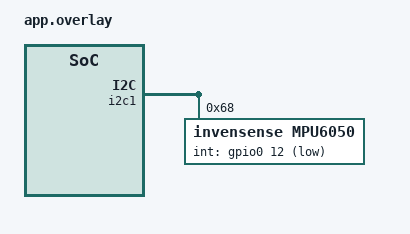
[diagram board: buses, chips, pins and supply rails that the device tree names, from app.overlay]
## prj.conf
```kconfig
#
# Copyright (c) 2018 Nordic Semiconductor
#
# SPDX-License-Identifier: LicenseRef-Nordic-5-Clause
#

# Enable the UART driver
CONFIG_UART_ASYNC_API=y
CONFIG_NRFX_UARTE0=y
CONFIG_SERIAL=y

CONFIG_GPIO=y

# Make sure printk is printing to the UART console
CONFIG_CONSOLE=y
CONFIG_UART_CONSOLE=y

CONFIG_HEAP_MEM_POOL_SIZE=2048

CONFIG_BT=y
CONFIG_BT_PERIPHERAL=y
CONFIG_BT_DEVICE_NAME="Nordic_UART_Service"
CONFIG_BT_MAX_CONN=1
CONFIG_BT_MAX_PAIRED=1
CONFIG_BT_SMP=y
CONFIG_BT_GATT_CLIENT=y

#Configure your preferred connection parameters
CONFIG_BT_PERIPHERAL_PREF_MIN_INT=800
CONFIG_BT_PERIPHERAL_PREF_MAX_INT=800
CONFIG_BT_PERIPHERAL_PREF_LATENCY=0
CONFIG_BT_PERIPHERAL_PREF_TIMEOUT=400
CONFIG_BT_GAP_AUTO_UPDATE_CONN_PARAMS=y

#nable PHY updates.
CONFIG_BT_USER_PHY_UPDATE=y

#Update Data Length and MTU
CONFIG_BT_USER_DATA_LEN_UPDATE=y
CONFIG_BT_CTLR_DATA_LENGTH_MAX=251
CONFIG_BT_BUF_ACL_RX_SIZE=251
CONFIG_BT_BUF_ACL_TX_SIZE=251
CONFIG_BT_L2CAP_TX_MTU=247

# Enable the NUS service
CONFIG_BT_NUS=y

# Enable bonding
CONFIG_BT_SETTINGS=y
CONFIG_FLASH=y
CONFIG_FLASH_PAGE_LAYOUT=y
CONFIG_FLASH_MAP=y
CONFIG_NVS=y
CONFIG_SETTINGS=y

# Enable DK LED and Buttons library
CONFIG_DK_LIBRARY=y

# This example requires more stack
CONFIG_MAIN_STACK_SIZE=1152
CONFIG_SYSTEM_WORKQUEUE_STACK_SIZE=2048

# Config logger
CONFIG_LOG=y
CONFIG_USE_SEGGER_RTT=y
CONFIG_LOG_BACKEND_RTT=y
CONFIG_LOG_BACKEND_UART=n
CONFIG_LOG_PRINTK=n

CONFIG_ASSERT=y


# i2c
CONFIG_I2C=y
CONFIG_NRFX_TWI1=y


# mpu6050
CONFIG_SENSOR=y
CONFIG_MPU6050=y
CONFIG_MPU6050_TRIGGER=y
CONFIG_MPU6050_TRIGGER_OWN_THREAD=y
```

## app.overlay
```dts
/*
 * Copyright (c) 2022 Nordic Semiconductor ASA
 *
 * SPDX-License-Identifier: LicenseRef-Nordic-5-Clause
 */

/ {
	chosen {
		nordic,nus-uart = &uart0;
	};
};

&i2c1 {
	status = "okay";
	//clock-frequency = <400000>;
	mpu6050: mpu6050@68 {
        compatible = "invensense,mpu6050";
        reg = <0x68>; // I2C 地址
		int-gpios = <&gpio0 12 GPIO_ACTIVE_LOW>;
    };
};
 
//配置i2c1
&i2c1_default {
	group1 {
		psels = <NRF_PSEL(TWIM_SDA, 0, 31)>, <NRF_PSEL(TWIM_SCL, 0, 30)>;
	};
};
```

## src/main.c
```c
/*
 * Copyright (c) 2018 Nordic Semiconductor ASA
 *
 * SPDX-License-Identifier: LicenseRef-Nordic-5-Clause
 */

/** @file
 *  @brief Nordic UART Bridge Service (NUS) sample
 */
#include <zephyr/types.h>
#include <zephyr/kernel.h>
#include <zephyr/device.h>
#include <zephyr/devicetree.h>
#include <soc.h>

#include <dk_buttons_and_leds.h>
#include <bluetooth/services/nus.h>
#include <stdio.h>

#include <zephyr/logging/log.h>

#include <zephyr/drivers/sensor.h>
#include <zephyr/sys/__assert.h>

#include "ble.h"
#include "uart.h"
#include "custom_srv.h"


LOG_MODULE_REGISTER(main);


#define RUN_STATUS_LED DK_LED1
#define RUN_LED_BLINK_INTERVAL 1000

// Verify that there is exactly one MPU6050 device
#define MPU6050_NODE DT_NODELABEL(mpu6050)

#if !DT_NODE_HAS_STATUS(MPU6050_NODE, okay)
#error "MPU6050 device node is not okay"
#endif


static K_SEM_DEFINE(sem, 0, 1);

static void mpu_trigger_handler(const struct device *dev,
			    const struct sensor_trigger *trigger)
{
	ARG_UNUSED(dev);
	switch (trigger->type) {
	case SENSOR_TRIG_DATA_READY:
		printk("Data ready trigger\r\n");
		break;
	default:
		printk("Unknown trigger event %d\r\n", trigger->type);
		break;
	}
	k_sem_give(&sem);
}

static void configure_gpio(void)
{
	int err;

	err = dk_leds_init();
	if (err) {
		LOG_ERR("Cannot init LEDs (err: %d)", err);
	}
}

/* This sets up  the sensor to signal valid data when a threshold
 * value is reached.
 */
static void process(const struct device *dev)
{
	int ret;
	struct sensor_value temp_val[3];
	struct sensor_trigger sensor_trig_conf = {
		.type = SENSOR_TRIG_DATA_READY,
		.chan = SENSOR_CHAN_RED,
	};

	if (sensor_trigger_set(dev, &sensor_trig_conf,
			mpu_trigger_handler)) {
		printk("Could not set trigger\n");
		return;
	}
	

	while (1) {
		k_sem_take(&sem, K_FOREVER);

		ret = sensor_sample_fetch_chan(dev, SENSOR_CHAN_ALL);
		/* The sensor does only support fetching SENSOR_CHAN_ALL */
		if (ret) {
			printk("sensor_sample_fetch failed ret %d\n", ret);
			return;
		}

		ret = sensor_channel_get(dev, SENSOR_CHAN_ACCEL_XYZ, temp_val);
		if (ret) {
			printk("sensor_channel_get failed ret %d\n", ret);
			return;
		}
		printk("mpu6050 XYZ: %x,%x,%x \n", temp_val[0].val1, temp_val[1].val1, temp_val[2].val1);


		k_sleep(K_MSEC(2000));
	}
}

int main(void)
{
	int blink_status = 0;

	if (IS_ENABLED(CONFIG_LOG_BACKEND_RTT)) {
		/* Give RTT log time to be flushed before executing tests */
		k_sleep(K_MSEC(500));
	}

	configure_gpio();

	uart_init();

	ble_init();

	const struct device *dev = DEVICE_DT_GET(MPU6050_NODE);

	//设置中断速率
	

	process(dev);
}

void ble_write_thread(void)
{
	static uint8_t tmp[5] = "1234"; 
	k_sem_take(&ble_init_ok, K_FOREVER);
	
	for (;;) {
		if(current_conn){
			indicate_send(current_conn, tmp, 5);
			bt_custom_send(current_conn, tmp, 2);
		}
		tmp[0] ++;
		k_sleep(K_MSEC(RUN_LED_BLINK_INTERVAL));
	}
}

K_THREAD_DEFINE(ble_write_thread_id, BT_THREAD_STACKSIZE, ble_write_thread, NULL, NULL,
		NULL, BT_THREAD_PRIORITY, 0, 0);
```

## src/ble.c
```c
#include "ble.h"
#include <bluetooth/services/nus.h>
#include "uart.h"

LOG_MODULE_REGISTER(custom_ble);

K_SEM_DEFINE(ble_init_ok, 0, 1);

struct bt_conn *current_conn;
struct bt_conn *auth_conn;

static const struct bt_data ad[] = {
	BT_DATA_BYTES(BT_DATA_FLAGS, (BT_LE_AD_GENERAL | BT_LE_AD_NO_BREDR)),
	BT_DATA(BT_DATA_NAME_COMPLETE, BT_DEVICE_NAME, BT_DEVICE_NAME_LEN),
};

static const struct bt_data sd[] = {
	BT_DATA_BYTES(BT_DATA_UUID128_ALL, BT_UUID_NUS_VAL),
};
/* Create variable that holds callback for MTU negotiation */
static struct bt_gatt_exchange_params exchange_params;

/* Implement callback function for MTU exchange */
static void mtu_exchange_func(struct bt_conn *conn, uint8_t att_err,
			  struct bt_gatt_exchange_params *params)
{
	LOG_INF("MTU exchange %s", att_err == 0 ? "successful" : "failed");
	if (!att_err) {
		uint16_t payload_mtu =
			bt_gatt_get_mtu(conn) - 3; // 3 bytes used for Attribute headers.
		LOG_INF("New MTU: %d bytes", payload_mtu);
	}
}

/* Define the function to update the connection's PHY */
static void update_phy(struct bt_conn *conn)
{
	int err;
	const struct bt_conn_le_phy_param preferred_phy = {
		.options = BT_CONN_LE_PHY_OPT_NONE,
		.pref_rx_phy = BT_GAP_LE_PHY_2M,
		.pref_tx_phy = BT_GAP_LE_PHY_2M,
	};
	err = bt_conn_le_phy_update(conn, &preferred_phy);
	if (err) {
		LOG_ERR("bt_conn_le_phy_update() returned %d", err);
	}
}

/* Define the function to update the connection's data length */
static void update_data_length(struct bt_conn *conn)
{
	int err;
	struct bt_conn_le_data_len_param con_data_len = {
		.tx_max_len = BT_GAP_DATA_LEN_MAX,
		.tx_max_time = BT_GAP_DATA_TIME_MAX,
	};
	err = bt_conn_le_data_len_update(current_conn, &con_data_len);
	if (err) {
		LOG_ERR("data_len_update failed (err %d)", err);
	}
}

/* Define the function to update the connection's MTU */
static void update_mtu(struct bt_conn *conn)
{
	int err;
	exchange_params.func = mtu_exchange_func;
    //need CONFIG_BT_GATT_CLIENT
	err = bt_gatt_exchange_mtu(conn, &exchange_params);
	if (err) {
		LOG_ERR("bt_gatt_exchange_mtu failed (err %d)", err);
	}
}

/* callback*/
static void connected(struct bt_conn *conn, uint8_t err)
{
	char addr[BT_ADDR_LE_STR_LEN];

	if (err) {
		LOG_ERR("Connection failed (err %u)", err);
		return;
	}

	bt_addr_le_to_str(bt_conn_get_dst(conn), addr, sizeof(addr));
	LOG_INF("Connected %s", addr);

	current_conn = bt_conn_ref(conn);

	dk_set_led_on(CON_STATUS_LED);

    /* Declare a structure to store the connection parameters */
	struct bt_conn_info info;
	err = bt_conn_get_info(conn, &info);
	if (err) {
		LOG_ERR("bt_conn_get_info() returned %d", err);
		return;
	}

	/* Add the connection parameters to your log */
	double connection_interval = info.le.interval * 1.25; // in ms
	uint16_t supervision_timeout = info.le.timeout * 10; // in ms
	LOG_INF("Connection parameters: interval %.2f ms, latency %d intervals, timeout %d ms",
		connection_interval, info.le.latency, supervision_timeout);

	/* Update the PHY mode */
	update_phy(current_conn);
	/* Update the data length and MTU */
	update_data_length(current_conn);
	update_mtu(current_conn);
}

static void disconnected(struct bt_conn *conn, uint8_t reason)
{
	char addr[BT_ADDR_LE_STR_LEN];

	bt_addr_le_to_str(bt_conn_get_dst(conn), addr, sizeof(addr));

	LOG_INF("Disconnected: %s (reason %u)", addr, reason);

	if (auth_conn) {
		bt_conn_unref(auth_conn);
		auth_conn = NULL;
	}

	if (current_conn) {
		bt_conn_unref(current_conn);
		current_conn = NULL;
		dk_set_led_off(CON_STATUS_LED);
	}
}

static void security_changed(struct bt_conn *conn, bt_security_t level,
			     enum bt_security_err err)
{
	char addr[BT_ADDR_LE_STR_LEN];

	bt_addr_le_to_str(bt_conn_get_dst(conn), addr, sizeof(addr));

	if (!err) {
		LOG_INF("Security changed: %s level %u", addr, level);
	} else {
		LOG_WRN("Security failed: %s level %u err %d", addr,
			level, err);
	}
}

void on_le_param_updated(struct bt_conn *conn, uint16_t interval, uint16_t latency,
			 uint16_t timeout)
{
	double connection_interval = interval * 1.25; // in ms
	uint16_t supervision_timeout = timeout * 10; // in ms
	LOG_INF("Connection parameters updated: interval %.2f ms, latency %d intervals, timeout %d ms",
		connection_interval, latency, supervision_timeout);
}

void on_le_phy_updated(struct bt_conn *conn, struct bt_conn_le_phy_info *param)
{
	// PHY Updated
	if (param->tx_phy == BT_CONN_LE_TX_POWER_PHY_1M) {
		LOG_INF("PHY updated. New PHY: 1M");
	} else if (param->tx_phy == BT_CONN_LE_TX_POWER_PHY_2M) {
		LOG_INF("PHY updated. New PHY: 2M");
	} else if (param->tx_phy == BT_CONN_LE_TX_POWER_PHY_CODED_S8) {
		LOG_INF("PHY updated. New PHY: Long Range");
	}
}

void on_le_data_len_updated(struct bt_conn *conn, struct bt_conn_le_data_len_info *info)
{
	uint16_t tx_len = info->tx_max_len;
	uint16_t tx_time = info->tx_max_time;
	uint16_t rx_len = info->rx_max_len;
	uint16_t rx_time = info->rx_max_time;
	LOG_INF("Data length updated. Length %d/%d bytes, time %d/%d us", tx_len, rx_len, tx_time,
		rx_time);
}
/* callback*/

// struct bt_conn_cb conn_callbacks
BT_CONN_CB_DEFINE(conn_callbacks) = {
	.connected    = connected,
	.disconnected = disconnected,
    /* the callback for connection parameter updates */
	.le_param_updated = on_le_param_updated,
#ifdef CONFIG_BT_SMP
	.security_changed = security_changed,
#endif

#ifdef CONFIG_BT_USER_PHY_UPDATE
    /* the callback for PHY mode updates */
	.le_phy_updated = on_le_phy_updated,
#endif

#ifdef CONFIG_BT_USER_DATA_LEN_UPDATE
	/* the callback for data length updates */
	//.le_data_len_updated = on_le_data_len_updated,
#endif 
};


static void bt_receive_cb(struct bt_conn *conn, const uint8_t *const data,
			  uint16_t len)
{
	int err;
	char addr[BT_ADDR_LE_STR_LEN] = {0};

	bt_addr_le_to_str(bt_conn_get_dst(conn), addr, ARRAY_SIZE(addr));

	LOG_INF("Received %d bytes data from: %s", len, addr);

    uart_tx_by_fifo(uart, data, len);
}

static struct bt_nus_cb nus_cb = {
	.received = bt_receive_cb,
};


#ifdef CONFIG_BT_NUS_SECURITY_ENABLED
static void auth_passkey_display(struct bt_conn *conn, unsigned int passkey)
{
	char addr[BT_ADDR_LE_STR_LEN];

	bt_addr_le_to_str(bt_conn_get_dst(conn), addr, sizeof(addr));

	LOG_INF("Passkey for %s: %06u", addr, passkey);
}

static void auth_passkey_confirm(struct bt_conn *conn, unsigned int passkey)
{
	char addr[BT_ADDR_LE_STR_LEN];

	auth_conn = bt_conn_ref(conn);

	bt_addr_le_to_str(bt_conn_get_dst(conn), addr, sizeof(addr));

	LOG_INF("Passkey for %s: %06u", addr, passkey);
	LOG_INF("Press Button 1 to confirm, Button 2 to reject.");
}


static void auth_cancel(struct bt_conn *conn)
{
	char addr[BT_ADDR_LE_STR_LEN];

	bt_addr_le_to_str(bt_conn_get_dst(conn), addr, sizeof(addr));

	LOG_INF("Pairing cancelled: %s", addr);
}


static void pairing_complete(struct bt_conn *conn, bool bonded)
{
	char addr[BT_ADDR_LE_STR_LEN];

	bt_addr_le_to_str(bt_conn_get_dst(conn), addr, sizeof(addr));

	LOG_INF("Pairing completed: %s, bonded: %d", addr, bonded);
}


static void pairing_failed(struct bt_conn *conn, enum bt_security_err reason)
{
	char addr[BT_ADDR_LE_STR_LEN];

	bt_addr_le_to_str(bt_conn_get_dst(conn), addr, sizeof(addr));

	LOG_INF("Pairing failed conn: %s, reason %d", addr, reason);
}

static struct bt_conn_auth_cb conn_auth_callbacks = {
	.passkey_display = auth_passkey_display,
	.passkey_confirm = auth_passkey_confirm,
	.cancel = auth_cancel,
};

static struct bt_conn_auth_info_cb conn_auth_info_callbacks = {
	.pairing_complete = pairing_complete,
	.pairing_failed = pairing_failed
};
#else
static struct bt_conn_auth_cb conn_auth_callbacks;
static struct bt_conn_auth_info_cb conn_auth_info_callbacks;
#endif

int ble_init(void)
{
    int err = 0;

    err = bt_nus_init(&nus_cb);
	if (err) {
		LOG_ERR("Failed to initialize UART service (err: %d)", err);
		return err;
	}
	
	if (IS_ENABLED(CONFIG_BT_NUS_SECURITY_ENABLED)) {
		err = bt_conn_auth_cb_register(&conn_auth_callbacks);
		if (err) {
			printk("Failed to register authorization callbacks.\n");
			return err;
		}

		err = bt_conn_auth_info_cb_register(&conn_auth_info_callbacks);
		if (err) {
			printk("Failed to register authorization info callbacks.\n");
			return err;
		}
	}

	err = bt_enable(NULL);
	if (err) {
        printk("Failed to bt_enable.\n");
        return err;
	}

	LOG_INF("Bluetooth initialized");

	k_sem_give(&ble_init_ok);

	if (IS_ENABLED(CONFIG_SETTINGS)) {
		settings_load();
	}

	err = bt_le_adv_start(BT_LE_ADV_CONN, ad, ARRAY_SIZE(ad), sd,
			      ARRAY_SIZE(sd));
	if (err) {
		LOG_ERR("Advertising failed to start (err %d)", err);
		return err;
	}

    return err;
}
```

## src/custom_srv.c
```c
#include "custom_srv.h"

LOG_MODULE_REGISTER(ble_custom_srv);

#define PRIMARY_SERVICE_UUID BT_UUID_DECLARE_16(0x4321) 
#define INDICATE_CHAR_UUID BT_UUID_DECLARE_16(0x4322)
#define WRITE_CHAR_UUID BT_UUID_DECLARE_16(0x4323)
#define NOTIFY_CHAR_UUID BT_UUID_DECLARE_16(0x4324)

bool indicate_flag = false;
bool indicate_enabled = false;

bool notify_enabled = false;
bool notify_flag = false;

static ssize_t indicate_char_callback(struct bt_conn *conn, const struct bt_gatt_attr *attr, void *buf,
                                      uint16_t len, uint16_t offset)
{
    // 获取存储在属性中的用户数据
    const char *value = attr->user_data;

    // 打印读取操作的相关信息
    printk("Attribute read, handle: %u, conn: %p", attr->handle, (void *)conn);

    // 使用 bt_gatt_attr_read 函数读取属性值并返回读取的数据长度
    return bt_gatt_attr_read(conn, attr, buf, len, offset, value, sizeof(*value));
}

static void indicate_char_ccc_cfg_changed(const struct bt_gatt_attr *attr, uint16_t value)
{
    indicate_enabled = (value == BT_GATT_CCC_INDICATE);
}

static void notify_char_ccc_cfg_changed(const struct bt_gatt_attr *attr, uint16_t value)
{
    notify_enabled = (value == BT_GATT_CCC_NOTIFY);
}

static ssize_t write_char_callback(struct bt_conn *conn, const struct bt_gatt_attr *attr, const void *buf,
                                   uint16_t len, uint16_t offset, uint8_t flags)
{
    // 打印写入操作的相关信息
    printk("Attribute(write_char) write, handle: %u, conn: %p, len:%d\n", attr->handle, (void *)conn, len);

    // 检查数据偏移量是否正确
    if (offset != 0) {
        printk("Write led: Incorrect data offset\n");
        return BT_GATT_ERR(BT_ATT_ERR_INVALID_OFFSET);
    }

    // 将写入的数据转换为字符串格式
    char *value = (uint8_t *)buf;
    printk("Write data: %.*s\n", len, value);

    // 返回写入的数据长度
    return len;
}

//自定义蓝牙 GATT（Generic Attribute Profile）服务
BT_GATT_SERVICE_DEFINE(
	// 这个宏定义了一个 GATT 服务，并将其命名为 custom_service。
	// custom_service 是这个服务的标识符，将用于引用和操作该服务。
    custom_service, 

	// 这个宏定义了一个主服务（Primary Service）。
	// PRIMARY_SERVICE_UUID 是服务的 UUID，用于唯一标识该服务。
    BT_GATT_PRIMARY_SERVICE(PRIMARY_SERVICE_UUID),

    //可读通知特征
    BT_GATT_CHARACTERISTIC(
        NOTIFY_CHAR_UUID, 
        BT_GATT_CHRC_NOTIFY, 
        BT_GATT_PERM_READ, 
        NULL,   //读操作的回调函数
        NULL,   //写操作的回调函数
        NULL    //初始值或状态指针
    ),
	BT_GATT_CCC(
        notify_char_ccc_cfg_changed, 
        BT_GATT_PERM_READ | BT_GATT_PERM_WRITE
    ),

    //可读指示性特征
    BT_GATT_CHARACTERISTIC(
        INDICATE_CHAR_UUID, 
        BT_GATT_CHRC_INDICATE, 
        BT_GATT_PERM_READ, 
        indicate_char_callback, 
        NULL, 
        &indicate_flag
    ),
    BT_GATT_CCC(
        indicate_char_ccc_cfg_changed, 
        BT_GATT_PERM_READ | BT_GATT_PERM_WRITE
    ),

    //写特征
    BT_GATT_CHARACTERISTIC(
        WRITE_CHAR_UUID, 
        BT_GATT_CHRC_WRITE, 
        BT_GATT_PERM_WRITE, 
        NULL, 
        write_char_callback, 
        NULL
    ),
);

static void indicate_cb(struct bt_conn *conn, struct bt_gatt_indicate_params *params, uint8_t err)
{
    printk("Indication %s\n", err != 0U ? "fail" : "success");
}


int indicate_send(struct bt_conn *conn, const uint8_t *data, uint16_t len)
{
    static struct bt_gatt_indicate_params indicate_param;
	if(!indicate_enabled)
	{
		return EACCES;
	}

	indicate_param.attr = &custom_service.attrs[4];
	indicate_param.func = indicate_cb;
	indicate_param.data = data;
	indicate_param.len = len;
	indicate_param.destroy = NULL;

	return bt_gatt_indicate(conn, &indicate_param);
}

static void on_sent(struct bt_conn *conn, void *user_data)
{
	ARG_UNUSED(user_data);

	LOG_DBG("Data send, conn %p", (void *)conn);

}

int bt_custom_send(struct bt_conn *conn, const uint8_t *data, uint16_t len)
{
	struct bt_gatt_notify_params params = {0};
	const struct bt_gatt_attr *attr = &custom_service.attrs[2];

	params.attr = attr;
	params.data = data;
	params.len = len;
	params.func = on_sent;

	if (!conn) {
		LOG_DBG("Notification send to all connected peers");
		return bt_gatt_notify_cb(NULL, &params);
	} else if (bt_gatt_is_subscribed(conn, attr, BT_GATT_CCC_NOTIFY)) {
		return bt_gatt_notify_cb(conn, &params);
	} else {
		return -EINVAL;
	}
}
```

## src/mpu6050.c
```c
#include "mpu6050.h"
 
LOG_MODULE_REGISTER(mpu6050);
 
/* measured in degrees/sec x10 to avoid floating point */
static const uint16_t mpu6050_gyro_sensitivity_x10[] = {
	1310, 655, 328, 164
};
 
static const uint8_t mpu6050_init_cmd[11][2] = {
    {PWR_MGMT_1, 0x80}, // PWR_MGMT_1, DEVICE_RESET  
    // need wait 
    {PWR_MGMT_1, 0x00}, // cleat SLEEP
    {GYRO_CONFIG, 0x18}, // Gyroscope Full Scale Range = ± 2000 °/s
    {ACCEL_CONFIG, 0x00}, // Accelerometer Full Scale Range = ± 2g 
    {INT_ENABLE, 0x01}, // Interrupt Enable.  DATA_RDY_EN
    {USER_CTRL, 0x00}, // User Control.auxiliary I2C are logically driven by the primary I2C bus
    {FIFO_EN, 0x00}, // FIFO Enable.disenable  
    {SMPLRT_DIV, 0x09}, // Sample Rate Divider.Sample Rate = 1KHz / (1 + 9)  
    {CONFIG, 0x23}, // EXT_SYNC_SET = GYRO_ZOUT_L[0]; Bandwidth = 3
    {PWR_MGMT_1, 0x01}, // Power Management 1.PLL with X axis gyroscope reference
    {PWR_MGMT_2, 0x00}  // Power Management 2
};
 
mpu6050_info_t mpu6050_dev = {
	.i2c = I2C_DT_SPEC_GET(DT_NODELABEL(mpu6050)),

#ifdef  MPU6050_INT_ENABLE  
    .int_gpio = GPIO_DT_SPEC_GET(DT_NODELABEL(mpu6050), int_gpios),
#endif
    // .data_queue = NULL,
};
 
#ifdef  MPU6050_INT_ENABLE  
// 中断处理程序
static void mpu6050_gpio_callback(const struct device *dev,
				  struct gpio_callback *cb, uint32_t pins)
{
	mpu6050_info_t *info = CONTAINER_OF(cb, mpu6050_info_t, gpio_cb);
 
	ARG_UNUSED(pins);
 
	gpio_pin_interrupt_configure_dt(&info->int_gpio, GPIO_INT_DISABLE);
 
#if defined(MPU6050_TRIGGER_OWN_THREAD)
	k_sem_give(&info->gpio_sem);
#elif defined(MPU6050_TRIGGER_GLOBAL_THREAD)
	k_work_submit(&info->work);
#endif
}
#endif
 
/*
 * @description: mpu6050读取寄存器数据 
 * @param:          reg_addr    寄存器地址  
 *                  data        数据缓存
 * @return:         无
 */
void mpu_read_reg(mpu6050_info_t *dev, uint8_t reg_addr, uint8_t *data)
{
	i2c_reg_read_byte_dt(&dev->i2c, reg_addr, data);
}
 
/*
 * @description: mpu6050写寄存器数据 
 * @param:          reg_addr    寄存器地址  
 *                  data        数据缓存
 * @return:         无
 */
void mpu_write_reg(mpu6050_info_t *dev, uint8_t reg_addr, uint8_t data)
{
    i2c_reg_write_byte_dt(&dev->i2c, reg_addr, data);
}
 
/*
 * @description: mpu6050读取寄存器数据 
 * @param:          reg_addr    寄存器地址  
 *                  data        数据缓存
 *                  len         字节数
 * @return:         无
 */
void mpu_read_n_reg(mpu6050_info_t *dev, uint8_t start_reg, uint8_t* data, uint32_t len)
{
    i2c_burst_read_dt(&dev->i2c, start_reg, data, len);
}
 
/* see "Accelerometer Measurements" section from register map description */
/*
 * @description: 转换加速度数据 
 * @param:       val               传感器值结构体指针
 *               raw_val           原始加速度值
 *               sensitivity_shift 灵敏度移位值
 * @return:      无
 */
static void mpu6050_convert_accel(struct sensor_value *val, int16_t raw_val,
				  uint16_t sensitivity_shift)
{
	int64_t conv_val;
 
	conv_val = ((int64_t)raw_val * SENSOR_G) >> sensitivity_shift;
	val->val1 = conv_val / 1000000;
	val->val2 = conv_val % 1000000;
}
 
/* see "Gyroscope Measurements" section from register map description */
/*
 * @description: 转换陀螺仪数据 
 * @param:       val                传感器值结构体指针
 *               raw_val            原始陀螺仪值
 *               sensitivity_x10    灵敏度x10
 * @return:      无
 */
static void mpu6050_convert_gyro(struct sensor_value *val, int16_t raw_val,
				 uint16_t sensitivity_x10)
{
	int64_t conv_val;
 
	conv_val = ((int64_t)raw_val * SENSOR_PI * 10) /
		   (sensitivity_x10 * 180U);
	val->val1 = conv_val / 1000000;
	val->val2 = conv_val % 1000000;
}
 
/* see "Temperature Measurement" section from register map description */
/*
 * @description: 转换温度数据 
 * @param:       val        传感器值结构体指针
 *               raw_val    原始温度值
 * @return:      无
 */
static inline void mpu6050_convert_temp(struct sensor_value *val,
					int16_t raw_val)
{
	val->val1 = raw_val / 340 + 36;
	val->val2 = ((int64_t)(raw_val % 340) * 1000000) / 340 + 530000;
 
	if (val->val2 < 0) {
		val->val1--;
		val->val2 += 1000000;
	} else if (val->val2 >= 1000000) {
		val->val1++;
		val->val2 -= 1000000;
	}
}
 
/*
 * @description: 转换MPU6050传感器通道数据 
 * @param:       info       MPU6050设备结构体指针
 *               chan       传感器通道
 *               val        传感器值结构体指针
 * @return:      0          成功
 *              -ENOTSUP    不支持的通道
 */
int mpu6050_channel_get(mpu6050_info_t *info,
			       enum sensor_channel chan,
			       struct sensor_value *val)
{
	mpu6050_data_t *drv_data = &info->sensor_data;
 
	switch (chan) {
	case SENSOR_CHAN_ACCEL_XYZ:
		mpu6050_convert_accel(val, drv_data->accel_x,
				      drv_data->accel_sensitivity_shift);
		mpu6050_convert_accel(val + 1, drv_data->accel_y,
				      drv_data->accel_sensitivity_shift);
		mpu6050_convert_accel(val + 2, drv_data->accel_z,
				      drv_data->accel_sensitivity_shift);
		break;
	case SENSOR_CHAN_ACCEL_X:
		mpu6050_convert_accel(val, drv_data->accel_x,
				      drv_data->accel_sensitivity_shift);
		break;
	case SENSOR_CHAN_ACCEL_Y:
		mpu6050_convert_accel(val, drv_data->accel_y,
				      drv_data->accel_sensitivity_shift);
		break;
	case SENSOR_CHAN_ACCEL_Z:
		mpu6050_convert_accel(val, drv_data->accel_z,
				      drv_data->accel_sensitivity_shift);
		break;
	case SENSOR_CHAN_GYRO_XYZ:
		mpu6050_convert_gyro(val, drv_data->gyro_x,
				     drv_data->gyro_sensitivity_x10);
		mpu6050_convert_gyro(val + 1, drv_data->gyro_y,
				     drv_data->gyro_sensitivity_x10);
		mpu6050_convert_gyro(val + 2, drv_data->gyro_z,
				     drv_data->gyro_sensitivity_x10);
		break;
	case SENSOR_CHAN_GYRO_X:
		mpu6050_convert_gyro(val, drv_data->gyro_x,
				     drv_data->gyro_sensitivity_x10);
		break;
	case SENSOR_CHAN_GYRO_Y:
		mpu6050_convert_gyro(val, drv_data->gyro_y,
				     drv_data->gyro_sensitivity_x10);
		break;
	case SENSOR_CHAN_GYRO_Z:
		mpu6050_convert_gyro(val, drv_data->gyro_z,
				     drv_data->gyro_sensitivity_x10);
		break;
	case SENSOR_CHAN_DIE_TEMP:
		mpu6050_convert_temp(val, drv_data->temp);
		break;
	default:
		return -ENOTSUP;
	}
 
	return 0;
}
 
/*
 * @description: struct sensor_value 数据打印
 * @param:          value  struct sensor_value 数据
 * @return:         无
 */
void print_sensor_value(struct sensor_value *value) {
    // Check if the fractional part is negative
    if (value->val2 < 0) {
        // Print negative fractional part correctly
        printk("%d.%06d\n", value->val1, -value->val2);
    } else {
        // Print normally
        printk("%d.%06d\n", value->val1, value->val2);
    }
}
 
#ifdef MPU6050_TRIGGER_OWN_THREAD
/*
 * @description: mpu6050中断读取数据线程 
 * @param:          无  
 * @return:         无
 */
static void mpu6050_thread(void *p1, void *p2, void *p3)
{
	ARG_UNUSED(p2);
	ARG_UNUSED(p3);
 
    uint16_t tmp[7];
	mpu6050_info_t *info = p1;
    // struct sensor_value val[7];
 
	while (1) {
        //等待接收
		k_sem_take(&info->gpio_sem, K_FOREVER);
 
        //读取数据
        mpu_read_n_reg(info, ACCEL_XOUT_H, (uint8_t*)tmp, 14);
		
        //开中断
        gpio_pin_interrupt_configure_dt(&info->int_gpio, 
            GPIO_INT_EDGE_FALLING);
 
        info->sensor_data.accel_x = sys_be16_to_cpu(tmp[0]);
        info->sensor_data.accel_y = sys_be16_to_cpu(tmp[1]);
        info->sensor_data.accel_z = sys_be16_to_cpu(tmp[2]);
        info->sensor_data.temp = sys_be16_to_cpu(tmp[3]);
        info->sensor_data.gyro_x = sys_be16_to_cpu(tmp[4]);
        info->sensor_data.gyro_y = sys_be16_to_cpu(tmp[5]);
        info->sensor_data.gyro_z = sys_be16_to_cpu(tmp[6]);
 
		//for(int i=0; i<7; i++) printk("%x ", tmp[i]);	
		//printk("\r\n");
	}
}
#endif
 
/*
 * @description: mpu6050中断初始化 
 * @param:          无  
 * @return:         0		成功
 * 					ELSE	失败
 */
int mpu6050_init_interrupt(mpu6050_info_t *info)
{
	if (!gpio_is_ready_dt(&info->int_gpio)) {
		LOG_ERR("GPIO device not ready");
		return -ENODEV;
	}
 
	gpio_pin_configure_dt(&info->int_gpio, GPIO_INPUT);
 
	gpio_init_callback(&info->gpio_cb,
			   mpu6050_gpio_callback,
			   BIT(info->int_gpio.pin));
 
	if (gpio_add_callback(info->int_gpio.port, &info->gpio_cb) < 0) {
		LOG_ERR("Failed to set gpio callback");
		return -EIO;
	}
 
#if defined(MPU6050_TRIGGER_OWN_THREAD)
	k_sem_init(&info->gpio_sem, 0, K_SEM_MAX_LIMIT);
 
	k_thread_create(&info->thread, info->thread_stack,
			MPU6050_THREAD_STACK_SIZE,
			mpu6050_thread, &mpu6050_dev,
			NULL, NULL, K_PRIO_COOP(MPU6050_THREAD_PRIORITY),
			0, K_NO_WAIT);
#elif defined(MPU6050_TRIGGER_GLOBAL_THREAD)
	info->work.handler = mpu6050_work_cb;
#endif
 
	gpio_pin_interrupt_configure_dt(&info->int_gpio,
					GPIO_INT_EDGE_FALLING);
 
	return 0;
}
 
 
/*
 * @description: mpu6050初始化 
 * @param:          无  
 * @return:         无
 */
int mpu6050_init(void)
{
    //寄存器初始化
    int ret;
	int i=0;
	uint8_t tmp, id;
 
    mpu6050_dev.sensor_data.accel_sensitivity_shift = 14;   // 14 - bit(4,3)
    mpu6050_dev.sensor_data.gyro_sensitivity_x10 = mpu6050_gyro_sensitivity_x10[3];
    
    if (!device_is_ready(mpu6050_dev.i2c.bus)) {
		LOG_ERR("Bus device is not ready");
		return -ENODEV;
	}
    
    /* check chip ID */
    if (i2c_reg_read_byte_dt(&mpu6050_dev.i2c, MPU6050_REG_CHIP_ID, &id) < 0) {
		LOG_ERR("Failed to read chip ID.");
		return -EIO;
	}

	if ((id != MPU6050_CHIP_ID) && (id != MPU9250_CHIP_ID) && (id != MPU6880_CHIP_ID)) {
		LOG_ERR("Invalid chip ID.");
		return -EINVAL;
	}


#ifdef  MPU6050_INT_ENABLE
    //中断配置
    ret = mpu6050_init_interrupt(&mpu6050_dev);
	if(ret) LOG_ERR("mpu6050_init_interrupt ERROR %X", ret);
#endif
 
	for (i=0; i < 11; i++){
        mpu_write_reg(&mpu6050_dev, mpu6050_init_cmd[i][0], mpu6050_init_cmd[i][1]);
        if (i == 0)
            k_sleep(K_MSEC(500));
    }
	
    for(i=0; i<11; i++){
        mpu_read_reg(&mpu6050_dev, mpu6050_init_cmd[i][0], &tmp);
        printk("tmp %02X\n\r", tmp);
    }

    return 0;
}
 
 
 
 
```

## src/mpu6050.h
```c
#ifndef _MPU6050_H_
#define _MPU6050_H_
 
 
#include <zephyr/device.h>
#include <zephyr/kernel.h>
#include <zephyr/devicetree.h>
 
#include <zephyr/drivers/i2c.h>
 
#include <zephyr/sys/byteorder.h>
 
#include <zephyr/devicetree/gpio.h>
#include <zephyr/drivers/gpio.h>
#include <zephyr/drivers/sensor.h>
 
#include <stdio.h>
#include <zephyr/logging/log.h>
 
 #define MPU6050_REG_CHIP_ID		0x75
#define MPU6050_CHIP_ID			0x68
#define MPU9250_CHIP_ID			0x71
#define MPU6880_CHIP_ID			0x19

/* MPU6050内部寄存器地址 */
#define SMPLRT_DIV  0x19 //陀螺仪采样率，典型值：0x07(125Hz)
#define CONFIG   0x1A //低通滤波频率，典型值：0x06(5Hz)
#define GYRO_CONFIG  0x1B //陀螺仪自检及测量范围，典型值：0xF8(不自检，+/-2000deg/s)
#define ACCEL_CONFIG 0x1C //加速计自检、测量范围，典型值：0x19(不自检，+/-G)
 
#define MPU6050_GYRO_FS_SHIFT		3
#define MPU6050_ACCEL_FS_SHIFT		3
 
#define FIFO_EN      0X23
#define INT_ENABLE   0X38
#define ACCEL_XOUT_H 0x3B
#define ACCEL_XOUT_L 0x3C
#define ACCEL_YOUT_H 0x3D
#define ACCEL_YOUT_L 0x3E
#define ACCEL_ZOUT_H 0x3F
#define ACCEL_ZOUT_L 0x40
#define TEMP_OUT_H  0x41
#define TEMP_OUT_L  0x42
#define GYRO_XOUT_H  0x43
#define GYRO_XOUT_L  0x44
#define GYRO_YOUT_H  0x45
#define GYRO_YOUT_L  0x46
#define GYRO_ZOUT_H  0x47
#define GYRO_ZOUT_L  0x48
#define SIGNAL_PATH_RESET 0X68  //reset the analog and digital signal paths
#define USER_CTRL 0X6A  
#define PWR_MGMT_1  0x6B //电源管理，典型值：0x00(正常启用)
#define PWR_MGMT_2  0x6C
 
#define MPU_SENSOR_ADDR                 0X68        /*!< 7 bits Slave address of the SGM sensor -- ADDR connect to GND */
 
#define MPU_RDY_IO                      7   // 转换完成信号，可读ADC数据
 
#define MPU6050_INT_ENABLE
 
#ifdef  MPU6050_INT_ENABLE
#define MPU6050_THREAD_STACK_SIZE   1024*10
#define MPU6050_THREAD_PRIORITY     10
#define MPU6050_TRIGGER_OWN_THREAD
#endif
 
//mpu6050 采样数据结构体
typedef struct mpu6050_data {
	int16_t accel_x;
	int16_t accel_y;
	int16_t accel_z;
	uint16_t accel_sensitivity_shift;
 
	int16_t temp;
 
	int16_t gyro_x;
	int16_t gyro_y;
	int16_t gyro_z;
	uint16_t gyro_sensitivity_x10;
}mpu6050_data_t;
 
//mpu6050 结构体
typedef struct mpu6050_info{
    struct i2c_dt_spec i2c;
    mpu6050_data_t sensor_data;
 
#ifdef MPU6050_INT_ENABLE
    struct gpio_dt_spec int_gpio;
	struct gpio_callback gpio_cb;
 
#if defined(MPU6050_TRIGGER_OWN_THREAD)
	K_KERNEL_STACK_MEMBER(thread_stack, MPU6050_THREAD_STACK_SIZE);
	struct k_thread thread;
	struct k_sem gpio_sem;
#elif defined(MPU6050_TRIGGER_GLOBAL_THREAD)
	struct k_work work;
#endif
 
#endif /* CONFIG_MPU6050_TRIGGER */
}mpu6050_info_t;
 
extern mpu6050_info_t mpu6050_dev;
 
int mpu6050_init(void);
void mpu_read_reg(mpu6050_info_t *dev, uint8_t reg_addr, uint8_t *data);
void mpu_write_reg(mpu6050_info_t *dev, uint8_t reg_addr, uint8_t data);
void mpu_read_n_reg(mpu6050_info_t *dev, uint8_t start_reg, uint8_t* data, uint32_t len);
int mpu6050_channel_get(mpu6050_info_t *info, enum sensor_channel chan, struct sensor_value *val);
 
#endif
```

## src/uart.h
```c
#ifndef _UART_H_
#define _UART_H_

#include <zephyr/types.h>
#include <zephyr/kernel.h>
#include <zephyr/device.h>
#include <zephyr/devicetree.h>

#include <zephyr/drivers/uart.h>
#include <zephyr/usb/usb_device.h>

#include <soc.h>
#include <stdio.h>

#include <zephyr/logging/log.h>
#include "uart_async_adapter.h"

#define UART_BUF_SIZE CONFIG_BT_NUS_UART_BUFFER_SIZE
#define UART_WAIT_FOR_BUF_DELAY K_MSEC(50)
#define UART_WAIT_FOR_RX CONFIG_BT_NUS_UART_RX_WAIT_TIME

struct uart_data_t {
	void *fifo_reserved;
	uint8_t data[UART_BUF_SIZE];
	uint16_t len;
};

extern const struct device *uart;
extern struct k_fifo fifo_uart_tx_data;
extern struct k_fifo fifo_uart_rx_data;


int uart_tx_by_fifo(const struct device *uart, const uint8_t *const data, uint16_t len);
int uart_init(void);

#endif // !_UART_H_
```
